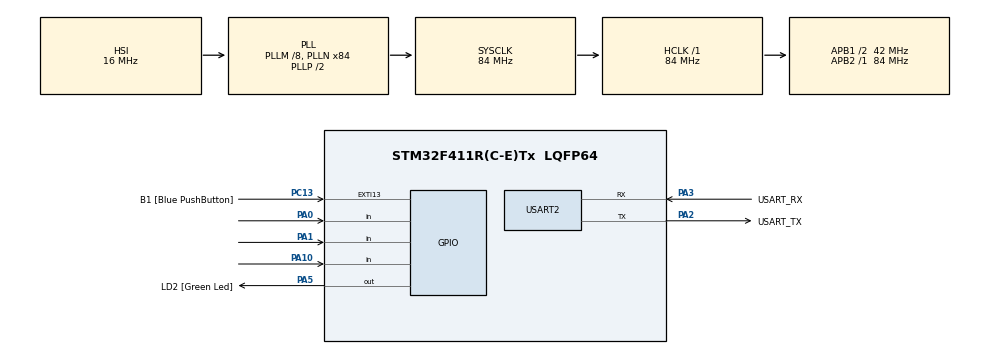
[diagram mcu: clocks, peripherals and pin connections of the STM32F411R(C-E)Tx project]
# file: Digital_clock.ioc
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Mcu.Family=STM32F4
Mcu.Name=STM32F411R(C-E)Tx
Mcu.Package=LQFP64
NVIC.PriorityGroup=NVIC_PRIORITYGROUP_0
PA0-WKUP.GPIO_PuPd=GPIO_PULLDOWN
PA0-WKUP.Signal=GPIO_Input
PA1.GPIO_PuPd=GPIO_PULLDOWN
PA1.Signal=GPIO_Input
PA10.GPIO_PuPd=GPIO_PULLDOWN
PA10.Signal=GPIO_Input
PA13.GPIO_Label=TMS
PA13.Mode=Serial_Wire
PA13.Signal=SYS_JTMS-SWDIO
PA14.GPIO_Label=TCK
PA14.Mode=Serial_Wire
PA14.Signal=SYS_JTCK-SWCLK
PA2.GPIO_Label=USART_TX
PA2.Mode=Asynchronous
PA2.Signal=USART2_TX
PA3.GPIO_Label=USART_RX
PA3.Mode=Asynchronous
PA3.Signal=USART2_RX
PA5.GPIO_Label=LD2 [Green Led]
PA5.Signal=GPIO_Output
PB3.GPIO_Label=SWO
PB3.Signal=SYS_JTDO-SWO
PC13-ANTI_TAMP.GPIO_Label=B1 [Blue PushButton]
PC13-ANTI_TAMP.GPIO_ModeDefaultEXTI=GPIO_MODE_IT_FALLING
PC13-ANTI_TAMP.Signal=GPXTI13
PC14-OSC32_IN.Mode=LSE-External-Oscillator
PC14-OSC32_IN.Signal=RCC_OSC32_IN
PC15-OSC32_OUT.Mode=LSE-External-Oscillator
PC15-OSC32_OUT.Signal=RCC_OSC32_OUT
PH0\ -\ OSC_IN.Mode=HSE-External-Oscillator
PH0\ -\ OSC_IN.Signal=RCC_OSC_IN
PH1\ -\ OSC_OUT.Mode=HSE-External-Oscillator
PH1\ -\ OSC_OUT.Signal=RCC_OSC_OUT
ProjectManager.HeapSize=0x200
ProjectManager.StackSize=0x400
ProjectManager.TargetToolchain=STM32CubeIDE
RCC.48MHZClocksFreq_Value=42000000
RCC.AHBFreq_Value=84000000
RCC.APB1CLKDivider=RCC_HCLK_DIV2
RCC.APB1Freq_Value=42000000
RCC.APB1TimFreq_Value=84000000
RCC.APB2Freq_Value=84000000
RCC.APB2TimFreq_Value=84000000
RCC.CortexFreq_Value=84000000
RCC.FLatency-AdvancedSettings=FLASH_LATENCY_2
RCC.HCLKFreq_Value=84000000
RCC.HSE_VALUE=8000000
RCC.HSI_VALUE=16000000
RCC.PLLM=8
RCC.PLLN=84
RCC.RCC_RTC_Clock_Source=RCC_RTCCLKSOURCE_LSE
RCC.SYSCLKFreq_VALUE=84000000
RCC.SYSCLKSource=RCC_SYSCLKSOURCE_PLLCLK
RCC.VCOOutputFreq_Value=168000000
USART2.VirtualMode=VM_ASYNC
VP_RTC_VS_RTC_Activate.Mode=RTC_Enabled
board=NUCLEO-F411RE

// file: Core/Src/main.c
/* USER CODE BEGIN Header */
/**
 ******************************************************************************
 * @file           : main.c
 * @brief          : Main program body
 ******************************************************************************
 * @attention
 *
 * Copyright (c) 2024 STMicroelectronics.
 * All rights reserved.
 *
 * This software is licensed under terms that can be found in the LICENSE file
 * in the root directory of this software component.
 * If no LICENSE file comes with this software, it is provided AS-IS.
 *
 ******************************************************************************
 */
/* USER CODE END Header */
#include "main.h"
#include <stdio.h>		//for sprintf
#include <string.h>	//for memset

/* USER CODE BEGIN PM */
uint8_t msg1[] = "****** SET TIME and press - PA0 - *****\n\n\r";
uint8_t msg2[] = "****** press any button to set the time *****\n\n\r";
/* USER CODE END PM */

RTC_HandleTypeDef hrtc;

UART_HandleTypeDef huart2;

/* USER CODE BEGIN PV */
uint8_t buffer_time[40];
uint8_t hr = 0;
uint8_t min = 0;
uint8_t sec = 0;

/* USER CODE END PV */

void SystemClock_Config(void);
static void MX_GPIO_Init(void);
static void MX_USART2_UART_Init(void);
static void MX_RTC_Init(void);
void set_time(uint8_t hr, uint8_t min, uint8_t sec);

int main(void) {

	/* MCU Configuration--------------------------------------------------------*/

	/* Reset of all peripherals, Initializes the Flash interface and the Systick. */
	HAL_Init();

	/* Configure the system clock */
	SystemClock_Config();

	/* Initialize all configured peripherals */
	MX_GPIO_Init();
	MX_USART2_UART_Init();
	MX_RTC_Init();

	/* Infinite loop */
	/* USER CODE BEGIN WHILE */
	HAL_UART_Transmit(&huart2, msg1, sizeof(msg1), HAL_MAX_DELAY);
	HAL_UART_Transmit(&huart2, msg2, sizeof(msg1), HAL_MAX_DELAY);
	while ((HAL_GPIO_ReadPin(GPIOA, GPIO_PIN_0 | GPIO_PIN_1 | GPIO_PIN_10)
			== GPIO_PIN_RESET)) {
	}
	HAL_Delay(200);
	do {

		if (HAL_GPIO_ReadPin(GPIOA, GPIO_PIN_1) == GPIO_PIN_SET) {
			while (HAL_GPIO_ReadPin(GPIOA, GPIO_PIN_1) == GPIO_PIN_SET) {} //increase one value for one press
			hr++;
			if (hr == 24) {hr = 0;}
		}

		if (HAL_GPIO_ReadPin(GPIOA, GPIO_PIN_10) == GPIO_PIN_SET) {
			while (HAL_GPIO_ReadPin(GPIOA, GPIO_PIN_10) == GPIO_PIN_SET) {} //one value for one press
			min++;
			if (min == 60) {min = 0;}
		}

		sprintf(buffer_time, "press PA0 if finished !!!! %d:%d:%d \n\r ", hr,min, sec);

		HAL_UART_Transmit(&huart2, (uint8_t*) &buffer_time, sizeof(buffer_time),HAL_MAX_DELAY);

	} while (HAL_GPIO_ReadPin(GPIOA, GPIO_PIN_0) == GPIO_PIN_RESET);//cycle works until we press PA0

	set_time(hr, min, sec);
	while (1) {

		memset(buffer_time, 1, sizeof(buffer_time)); //for clear the buffer
		/* USER CODE END WHILE */

		/* USER CODE BEGIN 3 */
		RTC_TimeTypeDef Time_Stamp;

		HAL_RTC_GetTime(&hrtc, &Time_Stamp, RTC_FORMAT_BIN);
		HAL_Delay(505);

		RTC_DateTypeDef Date_Stamp; //if we dont do date reading , the time value isn't enable, so we have to do it
		HAL_RTC_GetDate(&hrtc, &Date_Stamp, RTC_FORMAT_BIN);

		HAL_Delay(505);

		sprintf(buffer_time, "%d:%d:%d \n\r ", Time_Stamp.Hours,Time_Stamp.Minutes, Time_Stamp.Seconds);
		HAL_UART_Transmit(&huart2, (uint8_t*) &buffer_time, sizeof(buffer_time),HAL_MAX_DELAY);
	}
	/* USER CODE END 3 */
}

void set_time(uint8_t hr, uint8_t min, uint8_t sec) {
	RTC_TimeTypeDef sTime = { 0 };
	sTime.Hours = hr;
	sTime.Minutes = min;
	sTime.Seconds = sec;
	sTime.DayLightSaving = RTC_DAYLIGHTSAVING_NONE;
	sTime.StoreOperation = RTC_STOREOPERATION_RESET;
	if (HAL_RTC_SetTime(&hrtc, &sTime, RTC_FORMAT_BIN) != HAL_OK) {
		Error_Handler();
	}
}

void SystemClock_Config(void) {
	RCC_OscInitTypeDef RCC_OscInitStruct = { 0 };
	RCC_ClkInitTypeDef RCC_ClkInitStruct = { 0 };

	/** Configure the main internal regulator output voltage
	 */
	__HAL_RCC_PWR_CLK_ENABLE();
	__HAL_PWR_VOLTAGESCALING_CONFIG(PWR_REGULATOR_VOLTAGE_SCALE1);

	/** Initializes the RCC Oscillators according to the specified parameters
	 * in the RCC_OscInitTypeDef structure.
	 */
	RCC_OscInitStruct.OscillatorType = RCC_OSCILLATORTYPE_HSI
			| RCC_OSCILLATORTYPE_LSE;
	RCC_OscInitStruct.LSEState = RCC_LSE_ON;
	RCC_OscInitStruct.HSIState = RCC_HSI_ON;
	RCC_OscInitStruct.HSICalibrationValue = RCC_HSICALIBRATION_DEFAULT;
	RCC_OscInitStruct.PLL.PLLState = RCC_PLL_ON;
	RCC_OscInitStruct.PLL.PLLSource = RCC_PLLSOURCE_HSI;
	RCC_OscInitStruct.PLL.PLLM = 8;
	RCC_OscInitStruct.PLL.PLLN = 84;
	RCC_OscInitStruct.PLL.PLLP = RCC_PLLP_DIV2;
	RCC_OscInitStruct.PLL.PLLQ = 4;
	if (HAL_RCC_OscConfig(&RCC_OscInitStruct) != HAL_OK) {
		Error_Handler();
	}

	/** Initializes the CPU, AHB and APB buses clocks
	 */
	RCC_ClkInitStruct.ClockType = RCC_CLOCKTYPE_HCLK | RCC_CLOCKTYPE_SYSCLK
			| RCC_CLOCKTYPE_PCLK1 | RCC_CLOCKTYPE_PCLK2;
	RCC_ClkInitStruct.SYSCLKSource = RCC_SYSCLKSOURCE_PLLCLK;
	RCC_ClkInitStruct.AHBCLKDivider = RCC_SYSCLK_DIV1;
	RCC_ClkInitStruct.APB1CLKDivider = RCC_HCLK_DIV2;
	RCC_ClkInitStruct.APB2CLKDivider = RCC_HCLK_DIV1;

	if (HAL_RCC_ClockConfig(&RCC_ClkInitStruct, FLASH_LATENCY_2) != HAL_OK) {
		Error_Handler();
	}
}

static void MX_RTC_Init(void) {

	/** Initialize RTC Only
	 */
	hrtc.Instance = RTC;
	hrtc.Init.HourFormat = RTC_HOURFORMAT_24;
	hrtc.Init.AsynchPrediv = 127;
	hrtc.Init.SynchPrediv = 255;
	hrtc.Init.OutPut = RTC_OUTPUT_DISABLE;
	hrtc.Init.OutPutPolarity = RTC_OUTPUT_POLARITY_HIGH;
	hrtc.Init.OutPutType = RTC_OUTPUT_TYPE_OPENDRAIN;
	if (HAL_RTC_Init(&hrtc) != HAL_OK) {
		Error_Handler();
	}

}

static void MX_USART2_UART_Init(void) {

	huart2.Instance = USART2;
	huart2.Init.BaudRate = 115200;
	huart2.Init.WordLength = UART_WORDLENGTH_8B;
	huart2.Init.StopBits = UART_STOPBITS_1;
	huart2.Init.Parity = UART_PARITY_NONE;
	huart2.Init.Mode = UART_MODE_TX_RX;
	huart2.Init.HwFlowCtl = UART_HWCONTROL_NONE;
	huart2.Init.OverSampling = UART_OVERSAMPLING_16;
	if (HAL_UART_Init(&huart2) != HAL_OK) {
		Error_Handler();
	}

}

static void MX_GPIO_Init(void) {
	GPIO_InitTypeDef GPIO_InitStruct = { 0 };

	/* GPIO Ports Clock Enable */
	__HAL_RCC_GPIOC_CLK_ENABLE();
	__HAL_RCC_GPIOH_CLK_ENABLE();
	__HAL_RCC_GPIOA_CLK_ENABLE();
	__HAL_RCC_GPIOB_CLK_ENABLE();

	/*Configure GPIO pin Output Level */
	HAL_GPIO_WritePin(LD2_GPIO_Port, LD2_Pin, GPIO_PIN_RESET);

	/*Configure GPIO pin : B1_Pin */
	GPIO_InitStruct.Pin = B1_Pin;
	GPIO_InitStruct.Mode = GPIO_MODE_IT_FALLING;
	GPIO_InitStruct.Pull = GPIO_NOPULL;
	HAL_GPIO_Init(B1_GPIO_Port, &GPIO_InitStruct);

	/*Configure GPIO pins : PA0 PA1 PA10 */
	GPIO_InitStruct.Pin = GPIO_PIN_0 | GPIO_PIN_1 | GPIO_PIN_10;
	GPIO_InitStruct.Mode = GPIO_MODE_INPUT;
	GPIO_InitStruct.Pull = GPIO_PULLDOWN;
	HAL_GPIO_Init(GPIOA, &GPIO_InitStruct);

	/*Configure GPIO pin : LD2_Pin */
	GPIO_InitStruct.Pin = LD2_Pin;
	GPIO_InitStruct.Mode = GPIO_MODE_OUTPUT_PP;
	GPIO_InitStruct.Pull = GPIO_NOPULL;
	GPIO_InitStruct.Speed = GPIO_SPEED_FREQ_LOW;
	HAL_GPIO_Init(LD2_GPIO_Port, &GPIO_InitStruct);

}

void Error_Handler(void) {
	__disable_irq();
	while (1) {
	}
}
